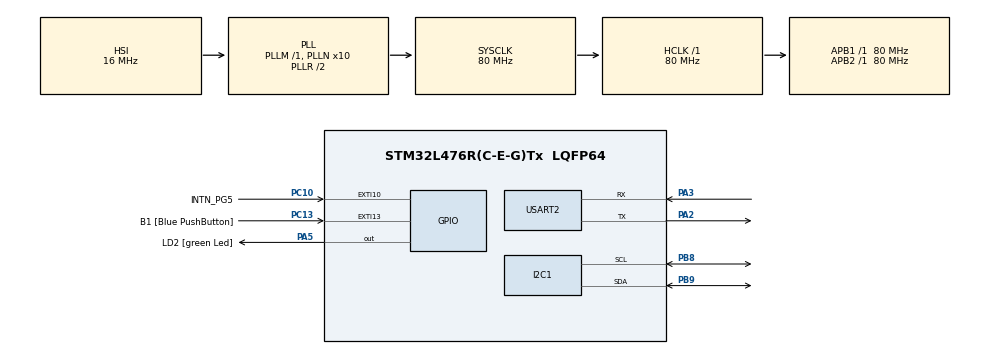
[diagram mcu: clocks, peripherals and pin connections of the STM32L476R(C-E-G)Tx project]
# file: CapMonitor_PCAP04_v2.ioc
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I2C1.Timing=0x10D19CE4
Mcu.Family=STM32L4
Mcu.Name=STM32L476R(C-E-G)Tx
Mcu.Package=LQFP64
NVIC.PriorityGroup=NVIC_PRIORITYGROUP_4
PA13\ (JTMS-SWDIO).GPIO_Label=TMS
PA13\ (JTMS-SWDIO).Mode=Serial_Wire
PA13\ (JTMS-SWDIO).Signal=SYS_JTMS-SWDIO
PA14\ (JTCK-SWCLK).GPIO_Label=TCK
PA14\ (JTCK-SWCLK).Mode=Serial_Wire
PA14\ (JTCK-SWCLK).Signal=SYS_JTCK-SWCLK
PA2.Mode=Asynchronous
PA2.Signal=USART2_TX
PA3.Mode=Asynchronous
PA3.Signal=USART2_RX
PA5.GPIO_Label=LD2 [green Led]
PA5.GPIO_ModeDefaultOutputPP=GPIO_MODE_OUTPUT_PP
PA5.GPIO_PuPd=GPIO_NOPULL
PA5.GPIO_Speed=GPIO_SPEED_FREQ_LOW
PA5.Signal=GPIO_Output
PB3\ (JTDO-TRACESWO).GPIO_Label=SWO
PB3\ (JTDO-TRACESWO).Signal=SYS_JTDO-SWO
PB8.GPIO_Pu=GPIO_PULLUP
PB8.Mode=I2C
PB8.Signal=I2C1_SCL
PB9.GPIO_Pu=GPIO_PULLUP
PB9.Mode=I2C
PB9.Signal=I2C1_SDA
PC10.GPIO_Label=INTN_PG5
PC10.GPIO_ModeDefaultEXTI=GPIO_MODE_IT_FALLING
PC10.GPIO_PuPd=GPIO_PULLUP
PC10.Signal=GPXTI10
PC13.GPIO_Label=B1 [Blue PushButton]
PC13.GPIO_ModeDefaultEXTI=GPIO_MODE_IT_FALLING
PC13.GPIO_PuPd=GPIO_NOPULL
PC13.Signal=GPXTI13
PC14-OSC32_IN\ (PC14).Mode=LSE-External-Oscillator
PC14-OSC32_IN\ (PC14).Signal=RCC_OSC32_IN
PC15-OSC32_OUT\ (PC15).Mode=LSE-External-Oscillator
PC15-OSC32_OUT\ (PC15).Signal=RCC_OSC32_OUT
PH0-OSC_IN\ (PH0).Signal=RCC_OSC_IN
PH1-OSC_OUT\ (PH1).Signal=RCC_OSC_OUT
ProjectManager.HeapSize=0x200
ProjectManager.StackSize=0x400
ProjectManager.TargetToolchain=STM32CubeIDE
RCC.ADCFreq_Value=64000000
RCC.AHBFreq_Value=80000000
RCC.APB1Freq_Value=80000000
RCC.APB1TimFreq_Value=80000000
RCC.APB2Freq_Value=80000000
RCC.APB2TimFreq_Value=80000000
RCC.CortexFreq_Value=80000000
RCC.HCLKFreq_Value=80000000
RCC.HSE_VALUE=8000000
RCC.HSI_VALUE=16000000
RCC.MSI_VALUE=4000000
RCC.PLLN=10
RCC.PLLSourceVirtual=RCC_PLLSOURCE_HSI
RCC.PREFETCH_ENABLE=1
RCC.SYSCLKFreq_VALUE=80000000
RCC.SYSCLKSource=RCC_SYSCLKSOURCE_PLLCLK
RCC.USBFreq_Value=64000000
RCC.VCOOutputFreq_Value=160000000
USART2.VirtualMode-Asynchronous=VM_ASYNC
board=NUCLEO-L476RG

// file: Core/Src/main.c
/* USER CODE BEGIN Header */
/**
  ******************************************************************************
  * @file           : main.c
  * @brief          : Main program body
  ******************************************************************************
  * @attention
  *
  * Copyright (c) 2025 STMicroelectronics.
  * All rights reserved.
  *
  * This software is licensed under terms that can be found in the LICENSE file
  * in the root directory of this software component.
  * If no LICENSE file comes with this software, it is provided AS-IS.
  *
  ******************************************************************************
  */
/* USER CODE END Header */
#include "main.h"

/* USER CODE BEGIN Includes */
#include "main.h"
#include <stdio.h>
#include "uart_printf.h"
#include "pcap04_functions.h"
/* USER CODE END Includes */

I2C_HandleTypeDef hi2c1;

UART_HandleTypeDef huart2;

/* USER CODE BEGIN PV */
volatile uint32_t g_counter = 0;
volatile uint32_t  My_INTN_Counter = 0;
volatile uint8_t   My_INTN_State = 1;
volatile float MyRatioRES0 = 0;
volatile float MyRatioRES1 = 0;
volatile float MyRatioRES2 = 0;

volatile double MyC1 = 0;
volatile double MyC2 = 0;
volatile double MyC3 = 0;

volatile pcap04_result_t results = {0xdeadbeef, 0xdeadbeef, 0xdeadbeef};

/* USER CODE END PV */

void SystemClock_Config(void);
static void MX_GPIO_Init(void);
static void MX_I2C1_Init(void);
static void MX_USART2_UART_Init(void);

/* USER CODE BEGIN 0 */
double integrated_data(uint32_t data)
{
	// Follow the conversion method on page 39 of the datasheet, this should also work for single floating
	// The result unit is in pF
	uint32_t integer;
	uint32_t fractional;
	double integrated;
	double j;
	integer = (data >> 27) & 0x1F;
	fractional = data  & 0x7FFFFFF;
	j = (double)(integer*10.0);
	integrated =(double)(fractional/13421779.41088971);
	integrated = (integrated + j);
	return (double)integrated;
}

/* USER CODE END 0 */

int main(void)
{

  /* USER CODE BEGIN 1 */
	bool bRet = false;

  /* USER CODE END 1 */

  /* MCU Configuration--------------------------------------------------------*/

  /* Reset of all peripherals, Initializes the Flash interface and the Systick. */
  HAL_Init();

  /* Configure the system clock */
  SystemClock_Config();

  /* Initialize all configured peripherals */
  MX_GPIO_Init();
  MX_I2C1_Init();
  MX_USART2_UART_Init();
  /* USER CODE BEGIN 2 */
  UART_Printf_Init(&huart2);
  HAL_Delay(10);

//    uart_printf("*******************************************\r\n");
//    uart_printf("*******************************************\r\n");

    uart_printf((const uint8_t*)"> Initialize interfaces...");
    initializeI2CInf(&hi2c1);
//    uart_printf(" Done.\r\n");
    HAL_Delay(10);

    uart_printf((const uint8_t*)"> Test connectivity to PCAP04...");

    bRet = test_connection();

    HAL_Delay(500);
    uart_printf((const uint8_t*)"> Power-On PCAP04...");
    bRet = power_on();
    FailureHandler(bRet);

    HAL_Delay(500);
    uart_printf((const uint8_t*)"> Initialize PCAP04...");
    bRet = initializePCAP04();
    FailureHandler(bRet);

    HAL_Delay(10);
    uart_printf((const uint8_t*)"> Upload firmware to PCAP04...");
    bRet = uploadFirmware();
    FailureHandler(bRet);

    uart_printf((const uint8_t*)"> Upload configuration to PCAP04...");
    bRet = uploadConfiguration();
    FailureHandler(bRet);

    uart_printf((const uint8_t*)"> Start CDC...");
    bRet = startCDC();
    FailureHandler(bRet);

    HAL_NVIC_EnableIRQ(EXTI15_10_IRQn);
  /* USER CODE END 2 */

  /* Infinite loop */
  while (1)
  {

    /* USER CODE BEGIN 3 */
//	  uart_printf((const uint8_t*)"Hello. \n");
//	  HAL_Delay(500);

	  if (My_INTN_State == 1)
	  {
		  bRet = getResult(&results);
		  if (!bRet)
		  {
			  uart_printf((const uint8_t*)"Read result: Fail.\r\n");
		  }
		  //Post Processing

//		  MyRatioRES0 = (float)(results.res0) / 134217728; // = 2^27
//		  MyRatioRES1 = (float)(results.res1) / 134217728; // = 2^27
//		  MyRatioRES2 = (float)(results.res2) / 134217728; // = 2^27

		  MyC1 = integrated_data(results.res0);
		  MyC2 = integrated_data(results.res1);
		  MyC3 = integrated_data(results.res2);

		  // Print out the raw data and converted data in pF
		  uart_printf((const uint8_t*)"Uint32_t RESULT-> 0x%08x, 0x%08x, 0x%08x. \r\n", results.res0, results.res1, results.res2);
		  uart_printf((const uint8_t*)"Measured capacitance -> %.8f pF, %.8f pF, %.8f pF. \r\n", MyC1, MyC2, MyC3);

		  HAL_Delay(1000);
	  }
  }
  /* USER CODE END 3 */
}

void SystemClock_Config(void)
{
  RCC_OscInitTypeDef RCC_OscInitStruct = {0};
  RCC_ClkInitTypeDef RCC_ClkInitStruct = {0};

  /** Configure the main internal regulator output voltage
  */
  if (HAL_PWREx_ControlVoltageScaling(PWR_REGULATOR_VOLTAGE_SCALE1) != HAL_OK)
  {
    Error_Handler();
  }

  /** Initializes the RCC Oscillators according to the specified parameters
  * in the RCC_OscInitTypeDef structure.
  */
  RCC_OscInitStruct.OscillatorType = RCC_OSCILLATORTYPE_HSI;
  RCC_OscInitStruct.HSIState = RCC_HSI_ON;
  RCC_OscInitStruct.HSICalibrationValue = RCC_HSICALIBRATION_DEFAULT;
  RCC_OscInitStruct.PLL.PLLState = RCC_PLL_ON;
  RCC_OscInitStruct.PLL.PLLSource = RCC_PLLSOURCE_HSI;
  RCC_OscInitStruct.PLL.PLLM = 1;
  RCC_OscInitStruct.PLL.PLLN = 10;
  RCC_OscInitStruct.PLL.PLLP = RCC_PLLP_DIV7;
  RCC_OscInitStruct.PLL.PLLQ = RCC_PLLQ_DIV2;
  RCC_OscInitStruct.PLL.PLLR = RCC_PLLR_DIV2;
  if (HAL_RCC_OscConfig(&RCC_OscInitStruct) != HAL_OK)
  {
    Error_Handler();
  }

  /** Initializes the CPU, AHB and APB buses clocks
  */
  RCC_ClkInitStruct.ClockType = RCC_CLOCKTYPE_HCLK|RCC_CLOCKTYPE_SYSCLK
                              |RCC_CLOCKTYPE_PCLK1|RCC_CLOCKTYPE_PCLK2;
  RCC_ClkInitStruct.SYSCLKSource = RCC_SYSCLKSOURCE_PLLCLK;
  RCC_ClkInitStruct.AHBCLKDivider = RCC_SYSCLK_DIV1;
  RCC_ClkInitStruct.APB1CLKDivider = RCC_HCLK_DIV1;
  RCC_ClkInitStruct.APB2CLKDivider = RCC_HCLK_DIV1;

  if (HAL_RCC_ClockConfig(&RCC_ClkInitStruct, FLASH_LATENCY_4) != HAL_OK)
  {
    Error_Handler();
  }
}

static void MX_I2C1_Init(void)
{

  hi2c1.Instance = I2C1;
  hi2c1.Init.Timing = 0x10D19CE4;
  hi2c1.Init.OwnAddress1 = 0;
  hi2c1.Init.AddressingMode = I2C_ADDRESSINGMODE_7BIT;
  hi2c1.Init.DualAddressMode = I2C_DUALADDRESS_DISABLE;
  hi2c1.Init.OwnAddress2 = 0;
  hi2c1.Init.OwnAddress2Masks = I2C_OA2_NOMASK;
  hi2c1.Init.GeneralCallMode = I2C_GENERALCALL_DISABLE;
  hi2c1.Init.NoStretchMode = I2C_NOSTRETCH_DISABLE;
  if (HAL_I2C_Init(&hi2c1) != HAL_OK)
  {
    Error_Handler();
  }

  /** Configure Analogue filter
  */
  if (HAL_I2CEx_ConfigAnalogFilter(&hi2c1, I2C_ANALOGFILTER_ENABLE) != HAL_OK)
  {
    Error_Handler();
  }

  /** Configure Digital filter
  */
  if (HAL_I2CEx_ConfigDigitalFilter(&hi2c1, 0) != HAL_OK)
  {
    Error_Handler();
  }

}

static void MX_USART2_UART_Init(void)
{

  huart2.Instance = USART2;
  huart2.Init.BaudRate = 115200;
  huart2.Init.WordLength = UART_WORDLENGTH_8B;
  huart2.Init.StopBits = UART_STOPBITS_1;
  huart2.Init.Parity = UART_PARITY_NONE;
  huart2.Init.Mode = UART_MODE_TX_RX;
  huart2.Init.HwFlowCtl = UART_HWCONTROL_NONE;
  huart2.Init.OverSampling = UART_OVERSAMPLING_16;
  huart2.Init.OneBitSampling = UART_ONE_BIT_SAMPLE_DISABLE;
  huart2.AdvancedInit.AdvFeatureInit = UART_ADVFEATURE_NO_INIT;
  if (HAL_UART_Init(&huart2) != HAL_OK)
  {
    Error_Handler();
  }

}

static void MX_GPIO_Init(void)
{
  GPIO_InitTypeDef GPIO_InitStruct = {0};

  /* GPIO Ports Clock Enable */
  __HAL_RCC_GPIOC_CLK_ENABLE();
  __HAL_RCC_GPIOH_CLK_ENABLE();
  __HAL_RCC_GPIOA_CLK_ENABLE();
  __HAL_RCC_GPIOB_CLK_ENABLE();

  /*Configure GPIO pin Output Level */
  HAL_GPIO_WritePin(LD2_GPIO_Port, LD2_Pin, GPIO_PIN_RESET);

  /*Configure GPIO pin : B1_Pin */
  GPIO_InitStruct.Pin = B1_Pin;
  GPIO_InitStruct.Mode = GPIO_MODE_IT_FALLING;
  GPIO_InitStruct.Pull = GPIO_NOPULL;
  HAL_GPIO_Init(B1_GPIO_Port, &GPIO_InitStruct);

  /*Configure GPIO pin : LD2_Pin */
  GPIO_InitStruct.Pin = LD2_Pin;
  GPIO_InitStruct.Mode = GPIO_MODE_OUTPUT_PP;
  GPIO_InitStruct.Pull = GPIO_NOPULL;
  GPIO_InitStruct.Speed = GPIO_SPEED_FREQ_LOW;
  HAL_GPIO_Init(LD2_GPIO_Port, &GPIO_InitStruct);

  /*Configure GPIO pin : INTN_PG5_Pin */
  GPIO_InitStruct.Pin = INTN_PG5_Pin;
  GPIO_InitStruct.Mode = GPIO_MODE_IT_FALLING;
  GPIO_InitStruct.Pull = GPIO_PULLUP;
  HAL_GPIO_Init(INTN_PG5_GPIO_Port, &GPIO_InitStruct);

  /* USER CODE BEGIN MX_GPIO_Init_2 */
  HAL_NVIC_SetPriority(EXTI15_10_IRQn, 1, 0);
  /* USER CODE END MX_GPIO_Init_2 */
}

/* USER CODE BEGIN 4 */

void FailureHandler(bool ret)
{
	if (ret)
	{
		uart_printf((const uint8_t*)"Done.\r\n");
	}
	else
	{
		uart_printf((const uint8_t*)"Fail.\r\n");
		Error_Handler();
	}
}

void EXTI15_10_IRQHandler()
{
	if (__HAL_GPIO_EXTI_GET_IT(INTN_PG5_Pin))
	{
		__HAL_GPIO_EXTI_CLEAR_IT(INTN_PG5_Pin);
	}

	NVIC_DisableIRQ(EXTI15_10_IRQn);

//	if (gpio_pin == INTN_PG5_Pin)
//	{

		My_INTN_State = (HAL_GPIO_ReadPin(INTN_PG5_GPIO_Port, INTN_PG5_Pin) == GPIO_PIN_SET); /* low active */
		if (My_INTN_State == 0)
		{
			My_INTN_Counter += 1;
//			uart_printf("%ld\r", My_INTN_Counter);
		}
		NVIC_EnableIRQ(EXTI15_10_IRQn);
//	}

}

void EXTI2_IRQHandler(void)
{
	g_counter++;

}
/* USER CODE END 4 */

void Error_Handler(void)
{
  /* USER CODE BEGIN Error_Handler_Debug */
  /* User can add his own implementation to report the HAL error return state */
  __disable_irq();
//  uart_printf("\r\n ERR. \r\n");
  while (1)
  {
  }
  /* USER CODE END Error_Handler_Debug */
}
